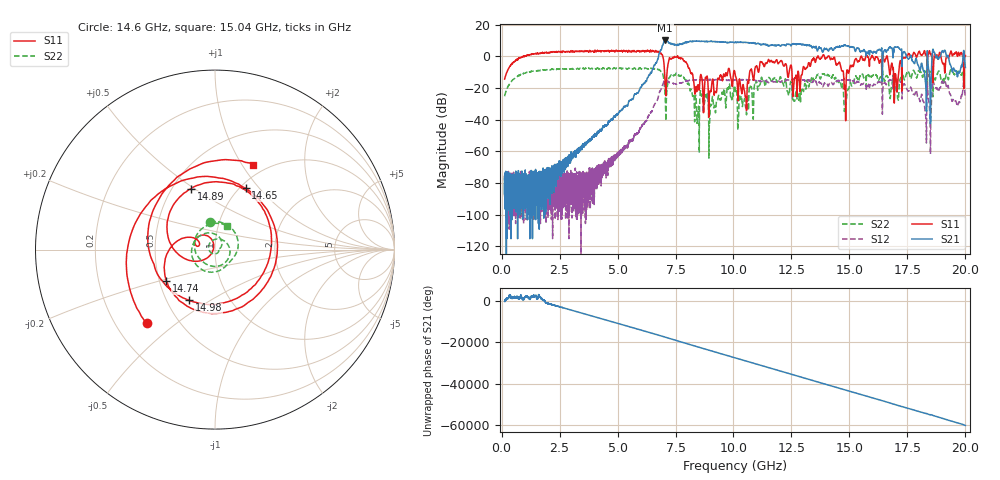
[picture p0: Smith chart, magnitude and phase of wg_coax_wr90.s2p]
!Created with skrf (http://scikit-rf.org).
# GHz S RI R 50.0
!freq ReS11 ImS11 ReS21 ImS21 ReS12 ImS12 ReS22 ImS22
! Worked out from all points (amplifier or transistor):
!   20013 points, 130 MHz to 20 GHz, reference 50 ohm
!   highest |S21| = 10.1 dB at 7.057 GHz (marker M1)
!   |S21| within 3 dB of that: 7.637 GHz to 11.46 GHz (3.827 GHz wide, 40.1 % of centre)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
!   unconditionally stable (mu >= 1): 7.979 GHz to 11.14 GHz; 12.11 GHz to 13.39 GHz; 14.38 GHz to 15.26 GHz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
!   at 3.465 GHz: K = -10903881.93, MSG = 17.0 dB, |S12| = -90.9 dB
!   at 10.14 GHz: K = 1.24, MAG = 8.9 dB, |S12| = -15.0 dB
!   at 20 GHz: K = -2.68, MSG = 9.7 dB, |S12| = -26.3 dB
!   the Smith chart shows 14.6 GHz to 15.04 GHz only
!   S11 on the Smith chart (normalised r, x): 14.6 GHz: 0.33, -0.40; 14.65 GHz: 1.06, +0.85; 14.74 GHz: 0.54, -0.21; 14.89 GHz: 0.62, +0.49; 14.98 GHz: 0.65, -0.41; 15.04 GHz: 0.87, +1.13
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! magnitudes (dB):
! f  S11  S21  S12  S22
! 130 MHz  -14.3  -86.9  -74.9  -25.2
! 3.442 GHz  3.5  -57.7  -82.9  -8.1
! 6.754 GHz  2.8  -1.1  -25.8  -8.3
! 7.057 GHz  -17.1  10.1  -14.9  -25.8
! 7.668 GHz  -0.8  8.0  -16.9  -12.2
! 8.998 GHz  -21.6  9.5  -14.6  -32.4
! 10.06 GHz  -10.6  8.8  -14.9  -19.6
! 10.49 GHz  -23.0  8.9  -14.7  -27.2
! 11.21 GHz  -3.6  7.6  -15.9  -13.2
! 12.64 GHz  -13.6  7.9  -14.7  -28.1
! 13.38 GHz  -2.6  5.7  -16.4  -13.0
! 14.6 GHz  -5.0  5.9  -15.6  -16.1
! 14.65 GHz  -8.3  6.7  -14.9  -19.4
! 14.74 GHz  -9.8  6.8  -14.6  -21.0
! 14.89 GHz  -8.8  6.6  -14.8  -23.9
! 14.98 GHz  -10.0  6.6  -14.8  -20.2
! 15.04 GHz  -5.7  6.2  -15.2  -16.5
! 16.69 GHz  -5.4  5.2  -15.6  -16.2
! 17.02 GHz  -14.6  6.0  -14.8  -18.3
! 18.24 GHz  3.5  -10.9  -31.4  -9.0
! 18.66 GHz  0.2  2.4  -17.7  -13.5
! 20 GHz  0.6  -7.0  -26.3  -9.3
